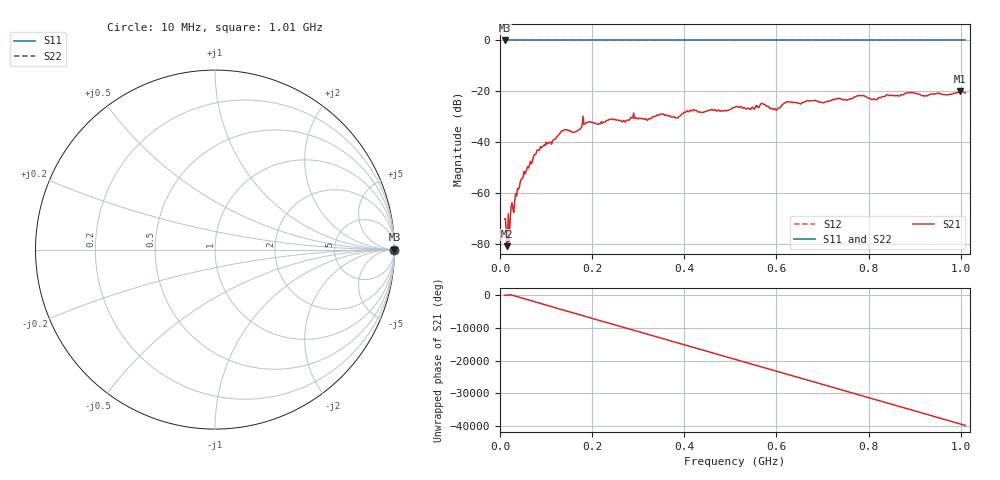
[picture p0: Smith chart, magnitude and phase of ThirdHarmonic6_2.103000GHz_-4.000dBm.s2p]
! 8/17/2025 1:09:20 AM
! C:\ANRITSUVNA\TEMP\TEMP.S2P
! CHANNEL.1
! TR.MEASUREMENT
! RAW.DATA
! RF.CORRECTION.OFF
! AVERAGING.OFF
! IF.BANDWIDTH: 5KHZ
! SWEEPTYPE:  FREQ.SWEEP(Linear)
! Reference Plane Port Info
! PORT:  PORT1  PORT2
! DISTANCE:  0  m  0  m
! TIME:  0  s  0  s
! PHASE.OFFSET:  0  deg.  0  deg.
! LOSS:  0  dB  0  dB
! REF.LOSS:  0  dB  0  dB
! REF.FREQ:  0  Hz  0  Hz
! Power Info
! POWER:  -20  dBm  -20  dBm
! EFF.POWER:  -20  dBm  -20  dBm
! SOURCE.ATTEN:  0  dB  0  dB
! TEST.ATTEN:  0  dB  0  dB
# GHZ S RI R 50.0
! FREQ.GHZ  S11RE  S11IM  S21RE  S21IM  S12RE  S12IM  S22RE  S22IM
!; PortSelection: Port_12
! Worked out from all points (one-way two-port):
!   501 points, 10 MHz to 1.01 GHz, reference 50 ohm
!   highest |S21| = -19.98 dB at 998 MHz (marker M1); lowest = -80.9 dB at 16 MHz (marker M2)
!   lowest |S11| = 0.0 dB at 10 MHz (marker M3)
!   |S11| at or under -10 dB: nowhere
!   |S22| runs from 0.0 to 0.0 dB; largest |S21 - S12| = 1.1
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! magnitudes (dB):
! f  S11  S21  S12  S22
! 10 MHz  0.0  -70.2  0.0  0.0
! 16 MHz  0.0  -80.9  0.0  0.0
! 18 MHz  0.0  -68.1  0.0  0.0
! 22 MHz  0.0  -71.0  0.0  0.0
! 42 MHz  0.0  -57.7  0.0  0.0
! 78 MHz  0.0  -44.6  0.0  0.0
! 136 MHz  0.0  -35.5  0.0  0.0
! 162 MHz  0.0  -36.1  0.0  0.0
! 178 MHz  0.0  -33.8  0.0  0.0
! 344 MHz  0.0  -29.5  0.0  0.0
! 384 MHz  0.0  -30.4  0.0  0.0
! 418 MHz  0.0  -27.6  0.0  0.0
! 510 MHz  0.0  -26.3  0.0  0.0
! 548 MHz  0.0  -26.2  0.0  0.0
! 570 MHz  0.0  -24.8  0.0  0.0
! 598 MHz  0.0  -27.2  0.0  0.0
! 624 MHz  0.0  -24.1  0.0  0.0
! 678 MHz  0.0  -23.7  0.0  0.0
! 814 MHz  0.0  -23.2  0.0  0.0
! 844 MHz  0.0  -21.7  0.0  0.0
! 998 MHz  0.0  -20.0  0.0  0.0
! 1.01 GHz  0.0  -20.7  0.0  0.0
